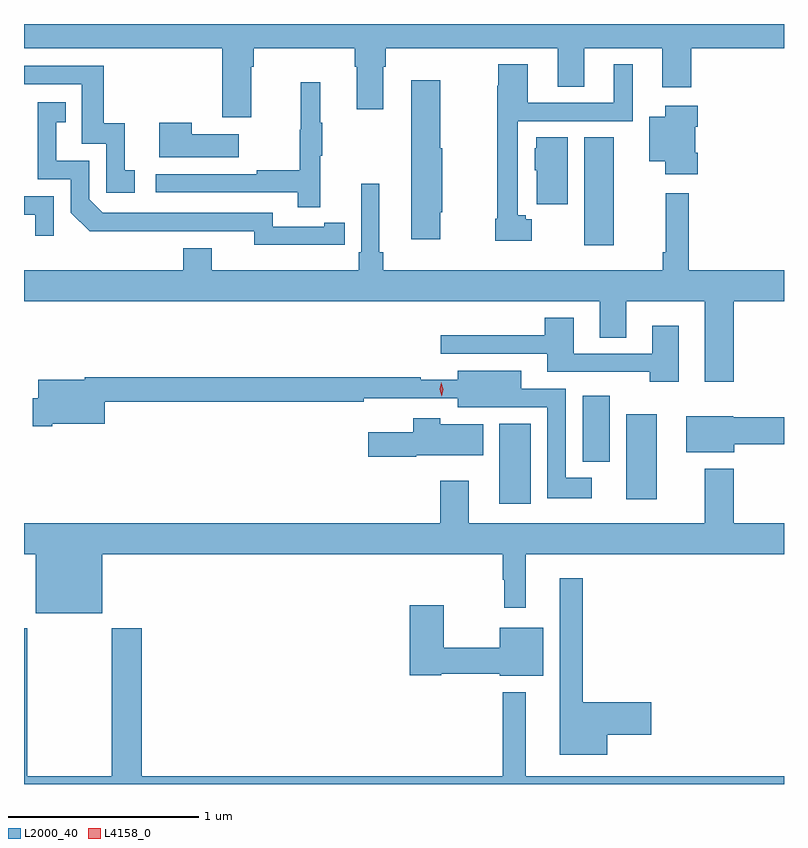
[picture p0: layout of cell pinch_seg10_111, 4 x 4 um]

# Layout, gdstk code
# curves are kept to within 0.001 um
import gdstk
lib = gdstk.Library(unit=1e-6, precision=1e-09)
def R(c, l, rs):  # rectangles x0, y0, x1, y1
    for r in rs: c.add(gdstk.rectangle(r[:2], r[2:], *l))
def P(c, l, *ps):  # polygons
    for p in ps: c.add(gdstk.Polygon(p, *l))
L2000_40 = (2000, 40)
L4158_0 = (4158, 0)

pinch_seg10_111 = lib.new_cell('pinch_seg10_111')
R(pinch_seg10_111, L2000_40, [(665.525,1301.916,665.689,1302.337), (666.194,1301.94,666.352,1302.385), (665.963,1302.137,666.106,1302.484), (665.972,1303.275,666.127,1303.844)])
P(pinch_seg10_111, L2000_40, [(663.023,1304.312),(664.067,1304.312),(664.067,1303.95),(664.219,1303.95),(664.219,1304.216),(664.232,1304.216),(664.232,1304.312),(664.763,1304.312),(664.763,1304.216),(664.775,1304.216),(664.775,1303.992),(664.915,1303.992),(664.915,1304.216),(664.928,1304.216),(664.928,1304.312),(665.831,1304.312),(665.831,1304.11),(665.971,1304.11),(665.971,1304.312),(666.383,1304.312),(666.383,1304.106),(666.536,1304.106),(666.536,1304.312),(667.023,1304.312),(667.023,1304.44),(663.023,1304.44)],
  [(665.695,1303.412),(665.664,1303.412),(665.664,1303.433),(665.622,1303.433),(665.622,1303.929),(666.226,1303.929),(666.226,1304.227),(666.128,1304.227),(666.128,1304.025),(665.674,1304.025),(665.674,1304.227),(665.518,1304.227),(665.518,1304.114),(665.514,1304.114),(665.514,1303.416),(665.503,1303.416),(665.503,1303.298),(665.695,1303.298)],
  [(663.607,1303.671),(663.554,1303.671),(663.554,1303.918),(663.443,1303.918),(663.443,1304.22),(663.023,1304.22),(663.023,1304.124),(663.327,1304.124),(663.327,1303.809),(663.456,1303.809),(663.456,1303.551),(663.607,1303.551)],
  [(665.214,1303.449),(665.224,1303.449),(665.224,1303.785),(665.214,1303.785),(665.214,1304.143),(665.06,1304.143),(665.06,1303.308),(665.214,1303.308)],
  [(664.583,1303.747),(664.594,1303.747),(664.594,1303.921),(664.583,1303.921),(664.583,1304.134),(664.48,1304.134),(664.48,1303.884),(664.473,1303.884),(664.473,1303.67),(664.249,1303.67),(664.249,1303.65),(663.717,1303.65),(663.717,1303.554),(664.465,1303.554),(664.465,1303.476),(664.583,1303.476)],
  [(664.604,1303.278),(664.712,1303.278),(664.712,1303.394),(664.604,1303.394),(664.604,1303.374),(664.332,1303.374),(664.332,1303.446),(663.438,1303.446),(663.366,1303.518),(663.366,1303.719),(663.193,1303.719),(663.193,1303.923),(663.242,1303.923),(663.242,1304.029),(663.096,1304.029),(663.096,1303.623),(663.27,1303.623),(663.27,1303.446),(663.368,1303.349),(664.236,1303.35),(664.236,1303.277)],
  [(666.569,1303.762),(666.556,1303.762),(666.556,1303.898),(666.569,1303.898),(666.569,1304.011),(666.398,1304.011),(666.398,1303.951),(666.314,1303.951),(666.314,1303.718),(666.398,1303.718),(666.398,1303.65),(666.569,1303.65)],
  [(664.153,1303.861),(663.905,1303.861),(663.905,1303.921),(663.734,1303.921),(663.734,1303.739),(664.153,1303.739)],
  [(665.884,1303.844),(665.72,1303.844),(665.72,1303.785),(665.711,1303.785),(665.711,1303.671),(665.721,1303.671),(665.721,1303.491),(665.884,1303.491)],
  [(664.797,1303.6),(664.797,1303.24),(664.784,1303.24),(664.784,1303.144),(664.012,1303.144),(664.012,1303.261),(663.86,1303.261),(663.86,1303.144),(663.023,1303.144),(663.023,1302.98),(666.053,1302.98),(666.053,1302.79),(666.193,1302.79),(666.193,1302.98),(666.605,1302.98),(666.605,1302.558),(666.758,1302.558),(666.758,1302.98),(667.023,1302.98),(667.023,1303.144),(666.521,1303.144),(666.521,1303.549),(666.4,1303.549),(666.4,1303.24),(666.385,1303.24),(666.385,1303.144),(664.913,1303.144),(664.913,1303.24),(664.894,1303.24),(664.894,1303.6)],
  [(663.18,1303.533),(663.023,1303.533),(663.023,1303.437),(663.083,1303.437),(663.083,1303.326),(663.18,1303.326)],
  [(666.469,1302.853),(666.329,1302.853),(666.329,1302.705),(665.917,1302.705),(665.917,1302.895),(665.765,1302.895),(665.765,1302.802),(665.217,1302.802),(665.217,1302.705),(665.777,1302.705),(665.777,1302.609),(666.317,1302.609),(666.317,1302.558),(666.469,1302.558)],
  [(666.01,1302.052),(665.874,1302.052),(665.874,1302.519),(665.641,1302.519),(665.641,1302.616),(665.306,1302.616),(665.306,1302.568),(665.11,1302.568),(665.11,1302.58),(663.344,1302.58),(663.344,1302.568),(663.098,1302.568),(663.098,1302.47),(663.068,1302.47),(663.068,1302.323),(663.172,1302.323),(663.172,1302.335),(663.448,1302.335),(663.448,1302.451),(664.81,1302.451),(664.81,1302.471),(665.306,1302.471),(665.306,1302.422),(665.529,1302.422),(665.529,1302.423),(665.778,1302.423),(665.778,1301.945),(666.01,1301.945)],
  [(666.76,1302.229),(667.023,1302.229),(667.023,1302.371),(666.756,1302.371),(666.756,1302.376),(666.509,1302.376),(666.509,1302.185),(666.76,1302.185)],
  [(665.088,1302.17),(665.44,1302.17),(665.44,1302.334),(665.214,1302.334),(665.214,1302.364),(665.072,1302.364),(665.072,1302.292),(664.836,1302.292),(664.836,1302.163),(665.088,1302.163)],
  [(663.436,1301.648),(665.544,1301.648),(665.544,1301.516),(665.551,1301.516),(665.551,1301.367),(665.665,1301.367),(665.665,1301.648),(667.023,1301.648),(667.023,1301.812),(666.758,1301.812),(666.758,1302.1),(666.605,1302.1),(666.605,1301.812),(665.365,1301.812),(665.365,1302.037),(665.213,1302.037),(665.213,1301.812),(663.023,1301.812),(663.023,1301.648),(663.086,1301.648),(663.086,1301.339),(663.436,1301.339)],
  [(666.094,1300.7),(666.325,1300.7),(666.325,1300.871),(665.965,1300.871),(665.965,1301.524),(665.843,1301.524),(665.843,1300.595),(666.094,1300.595)],
  [(665.755,1301.263),(665.528,1301.263),(665.528,1301.156),(665.232,1301.156),(665.232,1301.38),(665.054,1301.38),(665.054,1301.012),(665.22,1301.012),(665.22,1301.02),(665.528,1301.02),(665.528,1301.009),(665.755,1301.009)],
  [(667.023,1300.48),(665.665,1300.48),(665.665,1300.924),(665.544,1300.924),(665.544,1300.48),(663.644,1300.48),(663.644,1301.26),(663.484,1301.26),(663.484,1300.48),(663.039,1300.48),(663.039,1301.26),(663.023,1301.26),(663.023,1300.44),(667.023,1300.44)])
P(pinch_seg10_111, L4158_0, [(665.221,1302.482),(665.221,1302.482),(665.21,1302.518),(665.219,1302.553),(665.219,1302.554),(665.219,1302.553),(665.23,1302.518),(665.221,1302.482)])

lib.write_gds('pinch_seg10_111.gds')
